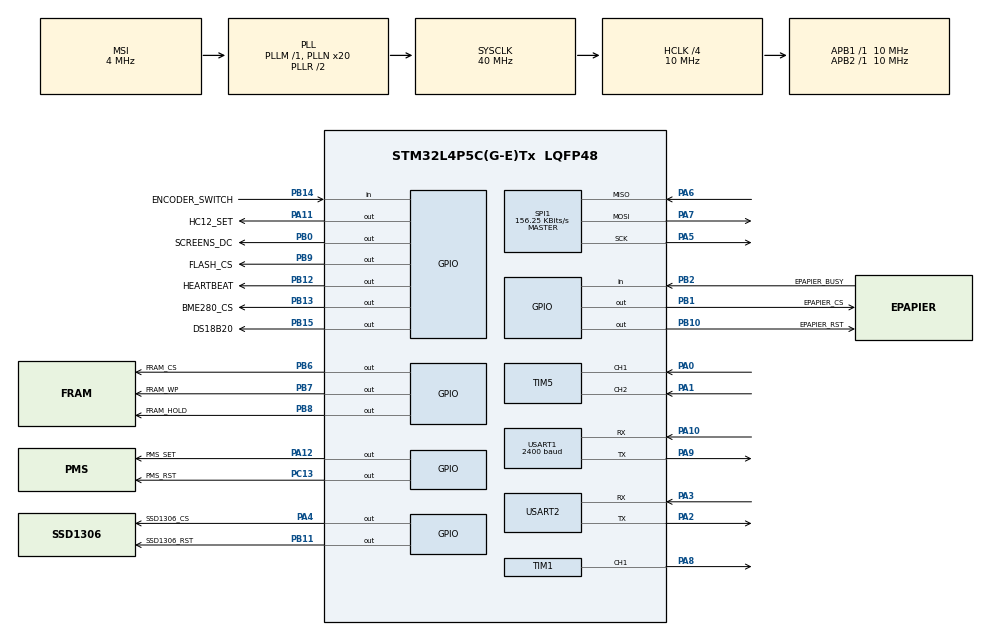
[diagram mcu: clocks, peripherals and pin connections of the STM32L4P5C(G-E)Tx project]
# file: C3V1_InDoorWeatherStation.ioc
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Dma.Request0=TIM1_CH1
Dma.Request1=USART1_RX
Dma.TIM1_CH1.0.Direction=DMA_PERIPH_TO_MEMORY
Dma.TIM1_CH1.0.EventEnable=DISABLE
Dma.TIM1_CH1.0.Instance=DMA1_Channel1
Dma.TIM1_CH1.0.MemDataAlignment=DMA_MDATAALIGN_HALFWORD
Dma.TIM1_CH1.0.MemInc=DMA_MINC_ENABLE
Dma.TIM1_CH1.0.Mode=DMA_NORMAL
Dma.TIM1_CH1.0.PeriphDataAlignment=DMA_PDATAALIGN_HALFWORD
Dma.TIM1_CH1.0.PeriphInc=DMA_PINC_DISABLE
Dma.TIM1_CH1.0.Polarity=HAL_DMAMUX_REQ_GEN_RISING
Dma.TIM1_CH1.0.Priority=DMA_PRIORITY_LOW
Dma.TIM1_CH1.0.RequestNumber=1
Dma.TIM1_CH1.0.SignalID=NONE
Dma.TIM1_CH1.0.SyncEnable=DISABLE
Dma.TIM1_CH1.0.SyncPolarity=HAL_DMAMUX_SYNC_NO_EVENT
Dma.TIM1_CH1.0.SyncRequestNumber=1
Dma.TIM1_CH1.0.SyncSignalID=NONE
Dma.USART1_RX.1.Direction=DMA_PERIPH_TO_MEMORY
Dma.USART1_RX.1.EventEnable=DISABLE
Dma.USART1_RX.1.Instance=DMA1_Channel2
Dma.USART1_RX.1.MemDataAlignment=DMA_MDATAALIGN_BYTE
Dma.USART1_RX.1.MemInc=DMA_MINC_ENABLE
Dma.USART1_RX.1.Mode=DMA_NORMAL
Dma.USART1_RX.1.PeriphDataAlignment=DMA_PDATAALIGN_BYTE
Dma.USART1_RX.1.PeriphInc=DMA_PINC_DISABLE
Dma.USART1_RX.1.Polarity=HAL_DMAMUX_REQ_GEN_RISING
Dma.USART1_RX.1.Priority=DMA_PRIORITY_LOW
Dma.USART1_RX.1.RequestNumber=1
Dma.USART1_RX.1.SignalID=NONE
Dma.USART1_RX.1.SyncEnable=DISABLE
Dma.USART1_RX.1.SyncPolarity=HAL_DMAMUX_SYNC_NO_EVENT
Dma.USART1_RX.1.SyncRequestNumber=1
Dma.USART1_RX.1.SyncSignalID=NONE
Mcu.Family=STM32L4
Mcu.Name=STM32L4P5C(G-E)Tx
Mcu.Package=LQFP48
NVIC.DMA1_Channel1_IRQn=true\:0\:0\:false\:true\:true\:2\:false\:true\:true
NVIC.DMA1_Channel2_IRQn=true\:0\:0\:false\:true\:true\:3\:false\:true\:true
NVIC.PriorityGroup=NVIC_PRIORITYGROUP_4
NVIC.TIM1_TRG_COM_TIM17_IRQn=true\:15\:0\:false\:false\:true\:false\:true\:true
NVIC.USART1_IRQn=true\:0\:0\:false\:true\:true\:1\:true\:true\:true
PA0.Signal=S_TIM5_CH1
PA1.Signal=S_TIM5_CH2
PA10.Mode=Asynchronous
PA10.Signal=USART1_RX
PA11.GPIO_Label=HC12_SET
PA11.PinState=GPIO_PIN_SET
PA11.Signal=GPIO_Output
PA12.GPIO_Label=PMS_SET
PA12.Signal=GPIO_Output
PA13\ (JTMS/SWDIO).Mode=Serial_Wire
PA13\ (JTMS/SWDIO).Signal=SYS_JTMS-SWDIO
PA14\ (JTCK/SWCLK).Mode=Serial_Wire
PA14\ (JTCK/SWCLK).Signal=SYS_JTCK-SWCLK
PA2.Mode=Asynchronous
PA2.Signal=USART2_TX
PA3.Mode=Asynchronous
PA3.Signal=USART2_RX
PA4.GPIO_Label=SSD1306_CS
PA4.GPIO_Speed=GPIO_SPEED_FREQ_VERY_HIGH
PA4.PinState=GPIO_PIN_SET
PA4.Signal=GPIO_Output
PA5.Mode=Full_Duplex_Master
PA5.Signal=SPI1_SCK
PA6.Mode=Full_Duplex_Master
PA6.Signal=SPI1_MISO
PA7.Mode=Full_Duplex_Master
PA7.Signal=SPI1_MOSI
PA8.Signal=S_TIM1_CH1
PA9.Mode=Asynchronous
PA9.Signal=USART1_TX
PB0.GPIO_Label=SCREENS_DC
PB0.GPIO_Speed=GPIO_SPEED_FREQ_VERY_HIGH
PB0.PinState=GPIO_PIN_SET
PB0.Signal=GPIO_Output
PB1.GPIO_Label=EPAPIER_CS
PB1.GPIO_Speed=GPIO_SPEED_FREQ_VERY_HIGH
PB1.PinState=GPIO_PIN_SET
PB1.Signal=GPIO_Output
PB10.GPIO_Label=EPAPIER_RST
PB10.GPIO_Speed=GPIO_SPEED_FREQ_VERY_HIGH
PB10.PinState=GPIO_PIN_SET
PB10.Signal=GPIO_Output
PB11.GPIO_Label=SSD1306_RST
PB11.GPIO_Speed=GPIO_SPEED_FREQ_VERY_HIGH
PB11.PinState=GPIO_PIN_SET
PB11.Signal=GPIO_Output
PB12.GPIO_Label=HEARTBEAT
PB12.Signal=GPIO_Output
PB13.GPIO_Label=BME280_CS
PB13.GPIO_Speed=GPIO_SPEED_FREQ_VERY_HIGH
PB13.PinState=GPIO_PIN_SET
PB13.Signal=GPIO_Output
PB14.GPIO_Label=ENCODER_SWITCH
PB14.Signal=GPIO_Input
PB15.GPIO_Label=DS18B20
PB15.Signal=GPIO_Output
PB2.GPIO_Label=EPAPIER_BUSY
PB2.Signal=GPIO_Input
PB6.GPIO_Label=FRAM_CS
PB6.GPIO_Speed=GPIO_SPEED_FREQ_VERY_HIGH
PB6.PinState=GPIO_PIN_SET
PB6.Signal=GPIO_Output
PB7.GPIO_Label=FRAM_WP
PB7.GPIO_Speed=GPIO_SPEED_FREQ_VERY_HIGH
PB7.PinState=GPIO_PIN_SET
PB7.Signal=GPIO_Output
PB8.GPIO_Label=FRAM_HOLD
PB8.GPIO_Speed=GPIO_SPEED_FREQ_VERY_HIGH
PB8.PinState=GPIO_PIN_SET
PB8.Signal=GPIO_Output
PB9.GPIO_Label=FLASH_CS
PB9.GPIO_Speed=GPIO_SPEED_FREQ_VERY_HIGH
PB9.PinState=GPIO_PIN_SET
PB9.Signal=GPIO_Output
PC13.GPIO_Label=PMS_RST
PC13.Signal=GPIO_Output
PC14-OSC32_IN\ (PC14).Mode=LSE-External-Oscillator
PC14-OSC32_IN\ (PC14).Signal=RCC_OSC32_IN
PC15-OSC32_OUT\ (PC15).Mode=LSE-External-Oscillator
PC15-OSC32_OUT\ (PC15).Signal=RCC_OSC32_OUT
ProjectManager.HeapSize=0x200
ProjectManager.StackSize=0xc00
ProjectManager.TargetToolchain=STM32CubeIDE
RCC.ADCFreq_Value=32000000
RCC.AHBCLKDivider=RCC_SYSCLK_DIV4
RCC.AHBFreq_Value=10000000
RCC.APB1Freq_Value=10000000
RCC.APB1TimFreq_Value=10000000
RCC.APB2Freq_Value=10000000
RCC.APB2TimFreq_Value=10000000
RCC.CortexFreq_Value=10000000
RCC.HCLKFreq_Value=10000000
RCC.HSE_VALUE=8000000
RCC.HSI48_VALUE=48000000
RCC.HSI_VALUE=16000000
RCC.MSI_VALUE=4000000
RCC.PLLN=20
RCC.PLLSAI1N=16
RCC.RTCClockSelection=RCC_RTCCLKSOURCE_LSE
RCC.SYSCLKFreq_VALUE=40000000
RCC.SYSCLKSource=RCC_SYSCLKSOURCE_PLLCLK
RCC.USBFreq_Value=32000000
RCC.VCOOutputFreq_Value=80000000
RTC.BinMode=RTC_BINARY_NONE
RTC.Date=6
RTC.Format=RTC_FORMAT_BIN
RTC.Hours=17
RTC.Minutes=38
RTC.Month=RTC_MONTH_DECEMBER
RTC.Seconds=57
RTC.WeekDay=RTC_WEEKDAY_TUESDAY
RTC.Year=22
SH.S_TIM1_CH1.0=TIM1_CH1,PWM Generation1 CH1
SH.S_TIM5_CH1.0=TIM5_CH1,Encoder_Interface
SH.S_TIM5_CH2.0=TIM5_CH2,Encoder_Interface
SPI1.BaudRatePrescaler=SPI_BAUDRATEPRESCALER_64
SPI1.CalculateBaudRate=156.25 KBits/s
SPI1.DataSize=SPI_DATASIZE_8BIT
SPI1.Direction=SPI_DIRECTION_2LINES
SPI1.Mode=SPI_MODE_MASTER
SPI1.VirtualType=VM_MASTER
TIM1.Channel-PWM\ Generation1\ CH1=TIM_CHANNEL_1
TIM5.EncoderMode=TIM_ENCODERMODE_TI1
TIM5.IC1Filter=15
USART1.BaudRate=2400
USART1.VirtualMode-Asynchronous=VM_ASYNC
USART2.VirtualMode-Asynchronous=VM_ASYNC
VP_RNG_VS_RNG.Mode=RNG_Activate
VP_RTC_VS_RTC_Activate.Mode=RTC_Enabled
VP_RTC_VS_RTC_Calendar.Mode=RTC_Calendar
VP_TIM1_VS_ClockSourceINT.Mode=Internal
VP_TIM2_VS_ClockSourceINT.Mode=Internal
board=custom

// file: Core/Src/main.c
/* USER CODE BEGIN Header */
/**
 ******************************************************************************
 * @file           : main.c
 * @brief          : Main program body
 ******************************************************************************
 * @attention
 *
 * Copyright (c) 2022 STMicroelectronics.
 * All rights reserved.
 *
 * This software is licensed under terms that can be found in the LICENSE file
 * in the root directory of this software component.
 * If no LICENSE file comes with this software, it is provided AS-IS.
 *
 ******************************************************************************
 */
/* USER CODE END Header */
#include "main.h"
#include "dma.h"
#include "rng.h"
#include "rtc.h"
#include "spi.h"
#include "tim.h"
#include "usart.h"
#include "gpio.h"

/* USER CODE BEGIN Includes */
#include "GFX_BW.h"
#include "e_papier.h"
#include "flash_spi.h"
#include "fonts/fonts.h"
#include "fram.h"
#include "rfp.h"
#include "ssd1306_spi.h"
#include <stdio.h>
#include <stdlib.h>
/* USER CODE END Includes */

/* USER CODE BEGIN PV */
// fram_t fram1;
// RFP_TypeDef rfp;
// flash_t flash1;
/* USER CODE END PV */

void SystemClock_Config(void);
static void MX_NVIC_Init(void);
/* USER CODE BEGIN PFP */
void RFP_DataFunction(uint8_t *Data, uint32_t DataLength, uint32_t DataStart);
void RFP_MessageExitDeepSleep(uint8_t *Data, uint32_t DataLength, uint32_t DataStart);
float h, t, b;
uint16_t pm1, pm25, pm10;
uint8_t f = 0;
RTC_TimeTypeDef RtcTime;
RTC_DateTypeDef RtcDate;
uint8_t State;
RFP_TypeDef rfp;
fram_t fram1;
flash_t flash1;
/* USER CODE END PFP */

int main(void)
{

  /* MCU Configuration--------------------------------------------------------*/

  /* Reset of all peripherals, Initializes the Flash interface and the Systick. */
  HAL_Init();

  /* Configure the system clock */
  SystemClock_Config();

  /* Initialize all configured peripherals */
  MX_GPIO_Init();
  MX_DMA_Init();
  MX_TIM1_Init();
  MX_TIM2_Init();
  MX_USART1_UART_Init();
  MX_TIM5_Init();
  MX_USART2_UART_Init();
  MX_SPI1_Init();
  MX_RTC_Init();
  MX_RNG_Init();

  /* Initialize interrupts */
  MX_NVIC_Init();
  /* USER CODE BEGIN 2 */
   ssd1306_init(&hspi1);
   ssd1306_clear();
   ssd1306_display();
   GFX_SetFont(font_8x5);
   GFX_DrawString(0, 50, "abcdef", WHITE, 0, OLED);
   ssd1306_display();
   e_papier_init(&hspi1);
   e_papier_display();
   ssd1306_display();
   fram_Init(&fram1, &hspi1, FRAM_HOLD_GPIO_Port, FRAM_CS_GPIO_Port, FRAM_WP_GPIO_Port, FRAM_HOLD_Pin, FRAM_CS_Pin, FRAM_WP_Pin);
   RFP_Init(&rfp, RFP_IDWS);
   flash_Init(&flash1, &hspi1, FLASH_CS_GPIO_Port, FLASH_CS_Pin);
   RFP_RegisterDataFunction(RFP_DataFunction);
   RFP_RegisterMessageFunction(RFP_EXIT_DEEP_SLEEP, RFP_MessageExitDeepSleep);
   uint8_t data = RFP_START_MEASURMENT;
   RFP_SendData(RFP_ODWS, RFP_COMMAND, &data, 1);
   HAL_TIM_Encoder_Start(&htim5, TIM_CHANNEL_ALL);
   uint32_t Time = 0;
  /* USER CODE END 2 */

  /* Infinite loop */
  /* USER CODE BEGIN WHILE */
   while(1)
   {
      if(HAL_GetTick() - Time > 1000)
      {
         ssd1306_clear();
         Time = HAL_GetTick();
         HAL_RTC_GetTime(&hrtc, &RtcTime, RTC_FORMAT_BIN);
         HAL_RTC_GetDate(&hrtc, &RtcDate, RTC_FORMAT_BIN);
         char data[100];
         sprintf(data, "%d h %d m %d s", RtcTime.Hours, RtcTime.Minutes, RtcTime.Seconds);
         GFX_DrawString(0, 0, data, WHITE, 0, OLED);
         sprintf(data, "%d : %d ; 2022", RtcDate.Date, RtcDate.Month);
         GFX_DrawString(0, 10, data, WHITE, 0, OLED);
         ssd1306_display();
      }
      RFP_Handle();
      if(f == 1)
      {
         f = 0;
         char mes[100];
         sprintf(mes, "H %0.2f", h);
         GFX_DrawString(0, 0, mes, BLACK, 1, E_PAPIER);
         sprintf(mes, "T %0.2f", t);
         GFX_DrawString(0, 10, mes, BLACK, 1, E_PAPIER);
         sprintf(mes, "PM1 %d", pm1);
         GFX_DrawString(0, 20, mes, BLACK, 1, E_PAPIER);
         sprintf(mes, "PM10 %d", pm10);
         GFX_DrawString(0, 30, mes, BLACK, 1, E_PAPIER);
         sprintf(mes, "PM2,5 %d", pm25);
         GFX_DrawString(0, 40, mes, BLACK, 1, E_PAPIER);
         sprintf(mes, "Battery Level %0.2f", b);
         GFX_DrawString(0, 50, mes, BLACK, 1, E_PAPIER);
         if(!(State & 0x01))
         {
            GFX_DrawString(0, 60, "Battery Charging", BLACK, 1, E_PAPIER);
         }
         else
         {
            GFX_DrawString(0, 60, "Battery No Charging", BLACK, 1, E_PAPIER);
         }
         if(!(State & 0x02))
         {
            GFX_DrawString(0, 70, "Battery Standby", BLACK, 1, E_PAPIER);
         }
         else
         {
            GFX_DrawString(0, 70, "Battery No Standby", BLACK, 1, E_PAPIER);
         }
         HAL_RTC_GetTime(&hrtc, &RtcTime, RTC_FORMAT_BIN);
         HAL_RTC_GetDate(&hrtc, &RtcDate, RTC_FORMAT_BIN);
         sprintf(mes, "%d h %d m %d s", RtcTime.Hours, RtcTime.Minutes, RtcTime.Seconds);
         GFX_DrawString(0, 80, mes, BLACK, 1, E_PAPIER);
         sprintf(mes, "%d : %d ; 2022", RtcDate.Date, RtcDate.Month);
         GFX_DrawString(0, 90, mes, BLACK, 1, E_PAPIER);
         e_papier_display();
         e_papier_clear();
         HAL_Delay(10000);
         //RFP_SendData(RFP_ODWS, RFP_COMMAND, &data, 1);
      }
    /* USER CODE END WHILE */

   }
}

void SystemClock_Config(void)
{
  RCC_OscInitTypeDef RCC_OscInitStruct = {0};
  RCC_ClkInitTypeDef RCC_ClkInitStruct = {0};

  /** Configure the main internal regulator output voltage
  */
  if (HAL_PWREx_ControlVoltageScaling(PWR_REGULATOR_VOLTAGE_SCALE1) != HAL_OK)
  {
    Error_Handler();
  }

  /** Configure LSE Drive Capability
  */
  HAL_PWR_EnableBkUpAccess();
  __HAL_RCC_LSEDRIVE_CONFIG(RCC_LSEDRIVE_LOW);

  /** Initializes the RCC Oscillators according to the specified parameters
  * in the RCC_OscInitTypeDef structure.
  */
  RCC_OscInitStruct.OscillatorType = RCC_OSCILLATORTYPE_LSE|RCC_OSCILLATORTYPE_MSI;
  RCC_OscInitStruct.LSEState = RCC_LSE_ON;
  RCC_OscInitStruct.MSIState = RCC_MSI_ON;
  RCC_OscInitStruct.MSICalibrationValue = 0;
  RCC_OscInitStruct.MSIClockRange = RCC_MSIRANGE_6;
  RCC_OscInitStruct.PLL.PLLState = RCC_PLL_ON;
  RCC_OscInitStruct.PLL.PLLSource = RCC_PLLSOURCE_MSI;
  RCC_OscInitStruct.PLL.PLLM = 1;
  RCC_OscInitStruct.PLL.PLLN = 20;
  RCC_OscInitStruct.PLL.PLLP = RCC_PLLP_DIV2;
  RCC_OscInitStruct.PLL.PLLQ = RCC_PLLQ_DIV2;
  RCC_OscInitStruct.PLL.PLLR = RCC_PLLR_DIV2;
  if (HAL_RCC_OscConfig(&RCC_OscInitStruct) != HAL_OK)
  {
    Error_Handler();
  }

  /** Initializes the CPU, AHB and APB buses clocks
  */
  RCC_ClkInitStruct.ClockType = RCC_CLOCKTYPE_HCLK|RCC_CLOCKTYPE_SYSCLK
                              |RCC_CLOCKTYPE_PCLK1|RCC_CLOCKTYPE_PCLK2;
  RCC_ClkInitStruct.SYSCLKSource = RCC_SYSCLKSOURCE_PLLCLK;
  RCC_ClkInitStruct.AHBCLKDivider = RCC_SYSCLK_DIV4;
  RCC_ClkInitStruct.APB1CLKDivider = RCC_HCLK_DIV1;
  RCC_ClkInitStruct.APB2CLKDivider = RCC_HCLK_DIV1;

  if (HAL_RCC_ClockConfig(&RCC_ClkInitStruct, FLASH_LATENCY_0) != HAL_OK)
  {
    Error_Handler();
  }
}

/**
  * @brief NVIC Configuration.
  * @retval None
  */
static void MX_NVIC_Init(void)
{
  /* USART1_IRQn interrupt configuration */
  HAL_NVIC_SetPriority(USART1_IRQn, 0, 0);
  HAL_NVIC_EnableIRQ(USART1_IRQn);
  /* DMA1_Channel1_IRQn interrupt configuration */
  HAL_NVIC_SetPriority(DMA1_Channel1_IRQn, 0, 0);
  HAL_NVIC_EnableIRQ(DMA1_Channel1_IRQn);
  /* DMA1_Channel2_IRQn interrupt configuration */
  HAL_NVIC_SetPriority(DMA1_Channel2_IRQn, 0, 0);
  HAL_NVIC_EnableIRQ(DMA1_Channel2_IRQn);
}

/* USER CODE BEGIN 4 */
void RFP_DataFunction(uint8_t *Data, uint32_t DataLength, uint32_t DataStart)
{
   uint8_t *TempPtr;
   TempPtr  = &h;
   *TempPtr = Data[DataStart];
   TempPtr++;
   *TempPtr = Data[DataStart + 1];
   TempPtr++;
   *TempPtr = Data[DataStart + 2];
   TempPtr++;
   *TempPtr = Data[DataStart + 3];
   TempPtr++;
   TempPtr  = &t;
   *TempPtr = Data[DataStart + 5];
   TempPtr++;
   *TempPtr = Data[DataStart + 6];
   TempPtr++;
   *TempPtr = Data[DataStart + 7];
   TempPtr++;
   *TempPtr = Data[DataStart + 8];
   TempPtr  = &b;
   *TempPtr = Data[DataStart + 13];
   TempPtr++;
   *TempPtr = Data[DataStart + 14];
   TempPtr++;
   *TempPtr = Data[DataStart + 15];
   TempPtr++;
   *TempPtr        = Data[DataStart + 16];
   TempPtr         = NULL;
   pm1             = (Data[22 + 3] | (Data[21 + 3] << 8));
   pm25            = (Data[28 + 3] | (Data[27 + 3] << 8));
   pm10            = (Data[25 + 3] | (Data[24 + 3] << 8));
   State           = Data[DataStart + 18];
   f               = 1;
   uint8_t Temp[2] = { RFP_GO_TO_DEEP_SLEEP, 5 };
   RFP_SendData(RFP_ODWS, RFP_COMMAND, Temp, 2);
}
void RFP_MessageExitDeepSleep(uint8_t *Data, uint32_t DataLength, uint32_t DataStart)
{
   uint8_t data = RFP_START_MEASURMENT;
   RFP_SendData(RFP_ODWS, RFP_COMMAND, &data, 1);
}
void HAL_UARTEx_RxEventCallback(UART_HandleTypeDef *huart, uint16_t Size)
{
   HAL_GPIO_TogglePin(HEARTBEAT_GPIO_Port, HEARTBEAT_Pin);
   rfp.DataSize = Size;
   RFP_InterruptTask();
}
/* USER CODE END 4 */

void Error_Handler(void)
{
   __disable_irq();
   while(1)
   {
   }
}
